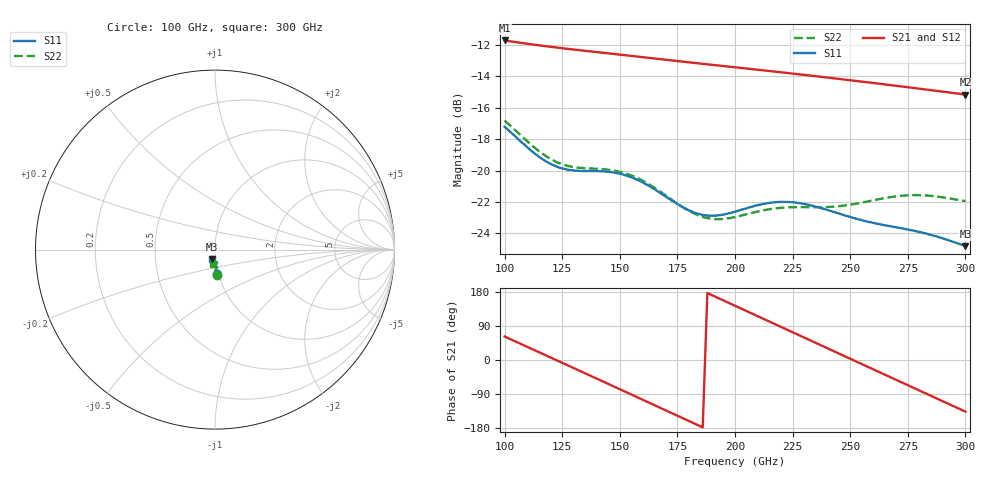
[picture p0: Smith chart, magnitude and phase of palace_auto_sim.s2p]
#  GHZ S DB R 50
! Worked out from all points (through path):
!   101 points, 100 GHz to 300 GHz, reference 50 ohm
!   highest |S21| = -11.74 dB at 100 GHz (marker M1); lowest = -15.2 dB at 300 GHz (marker M2)
!   group delay of S21, straight-line fit = 7.76 ps
!   lowest |S11| = -24.8 dB at 300 GHz (marker M3), VSWR 1.12, Z = 48.1 - j5.3 ohm
!   |S11| at or under -10 dB: start of sweep to end of sweep
!   |S22| runs from -23.1 to -16.8 dB; largest |S21 - S12| = 3.8e-13
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100  -17.22 -85.5  -11.74 62.0  -11.74 62.0  -16.83 -86.1
110  -18.55 -87.2  -11.95 34.2  -11.95 34.2  -18.16 -88.5
118  -19.42 -86.0  -12.11 12.0  -12.11 12.0  -19.09 -87.7
126  -19.90 -83.8  -12.25 -10.2  -12.25 -10.2  -19.65 -85.6
134  -20.03 -82.7  -12.38 -32.5  -12.38 -32.5  -19.85 -84.4
144  -20.07 -84.2  -12.54 -60.4  -12.54 -60.4  -19.93 -85.6
152  -20.28 -87.1  -12.67 -82.7  -12.67 -82.7  -20.16 -88.3
160  -20.76 -90.2  -12.80 -105.1  -12.80 -105.1  -20.65 -91.2
168  -21.46 -92.0  -12.93 -127.5  -12.93 -127.5  -21.38 -92.9
176  -22.22 -91.5  -13.06 -149.8  -13.06 -149.8  -22.20 -92.4
184  -22.75 -88.9  -13.19 -172.1  -13.19 -172.1  -22.85 -89.5
192  -22.86 -85.7  -13.32 165.5  -13.32 165.5  -23.09 -85.5
200  -22.62 -84.0  -13.44 143.2  -13.44 143.2  -22.96 -82.5
208  -22.27 -84.5  -13.57 120.8  -13.57 120.8  -22.67 -81.3
216  -22.03 -87.0  -13.70 98.4  -13.70 98.4  -22.44 -81.7
224  -22.01 -90.3  -13.83 76.1  -13.83 76.1  -22.33 -82.7
234  -22.25 -94.4  -13.99 48.1  -13.99 48.1  -22.33 -83.6
250  -22.95 -98.5  -14.27 3.4  -14.27 3.4  -22.17 -83.9
258  -23.26 -99.6  -14.41 -19.0  -14.41 -19.0  -21.95 -84.6
268  -23.56 -100.9  -14.58 -46.9  -14.58 -46.9  -21.68 -86.8
284  -24.05 -104.1  -14.87 -91.6  -14.87 -91.6  -21.60 -92.2
300  -24.81 -107.1  -15.18 -136.2  -15.18 -136.2  -21.94 -96.1
